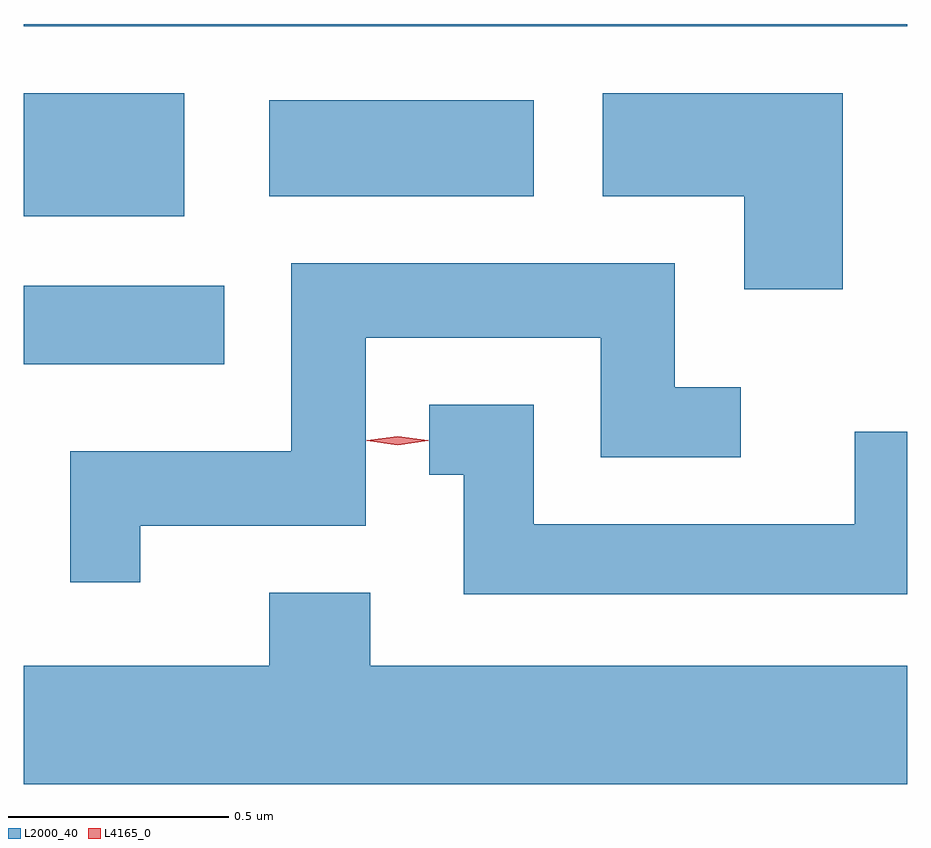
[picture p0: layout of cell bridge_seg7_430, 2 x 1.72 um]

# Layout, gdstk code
import gdstk
lib = gdstk.Library(unit=1e-6, precision=1e-09)
def R(c, l, rs):  # rectangles x0, y0, x1, y1
    for r in rs: c.add(gdstk.rectangle(r[:2], r[2:], *l))
def P(c, l, *ps):  # polygons
    for p in ps: c.add(gdstk.Polygon(p, *l))
L2000_40 = (2000, 40)
L4165_0 = (4165, 0)

bridge_seg7_430 = lib.new_cell('bridge_seg7_430')
R(bridge_seg7_430, L2000_40, [(1067.175,1670.866,1067.629,1671.044), (1067.175,1671.201,1067.539,1671.479), (1067.731,1671.246,1068.329,1671.464), (1067.175,1671.631,1069.175,1671.636)])
P(bridge_seg7_430, L2000_40, [(1069.029,1671.479),(1068.486,1671.479),(1068.486,1671.246),(1068.806,1671.246),(1068.806,1671.036),(1069.029,1671.036)],
  [(1067.439,1670.501),(1067.949,1670.501),(1067.949,1670.926),(1068.481,1670.926),(1068.481,1670.656),(1068.798,1670.656),(1068.798,1670.814),(1068.649,1670.814),(1068.649,1671.094),(1067.781,1671.094),(1067.781,1670.669),(1067.281,1670.669),(1067.281,1670.373),(1067.439,1670.373)],
  [(1069.175,1670.713),(1069.056,1670.713),(1069.056,1670.504),(1068.329,1670.504),(1068.329,1670.774),(1068.093,1670.774),(1068.093,1670.616),(1068.171,1670.616),(1068.171,1670.346),(1069.175,1670.346)],
  [(1069.175,1670.184),(1067.959,1670.184),(1067.959,1670.349),(1067.731,1670.349),(1067.731,1670.184),(1067.175,1670.184),(1067.175,1669.916),(1069.175,1669.916)])
P(bridge_seg7_430, L4165_0, [(1068.022,1670.683),(1067.952,1670.693),(1067.952,1670.693),(1067.952,1670.694),(1068.022,1670.703),(1068.091,1670.694),(1068.091,1670.693),(1068.091,1670.693)])

lib.write_gds('bridge_seg7_430.gds')
